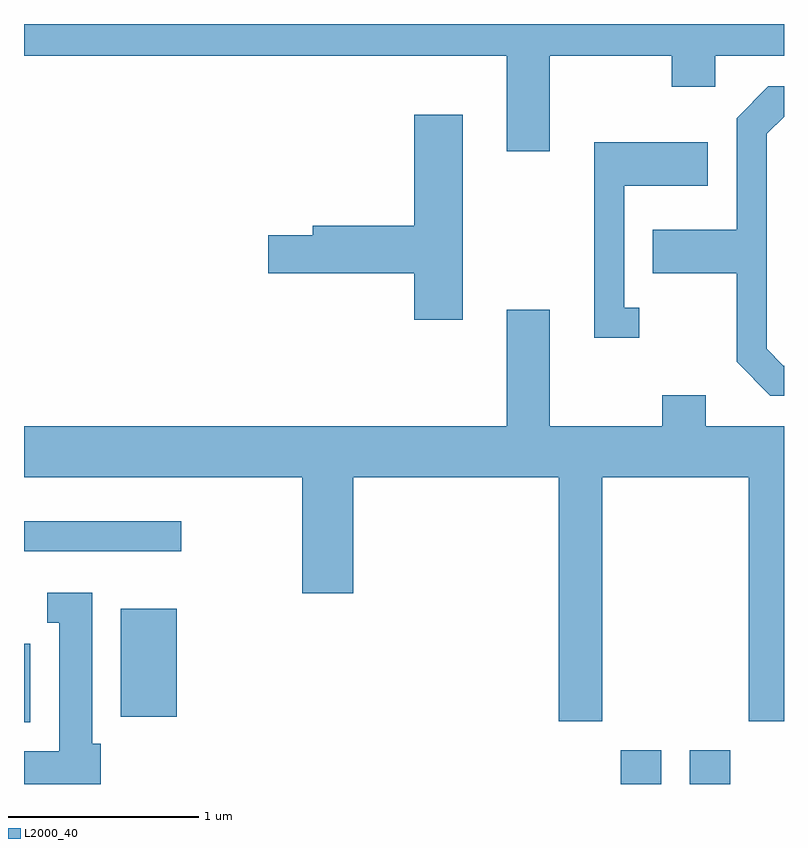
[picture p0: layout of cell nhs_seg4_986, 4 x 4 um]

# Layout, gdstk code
import gdstk
lib = gdstk.Library(unit=1e-6, precision=1e-09)
def R(c, l, rs):  # rectangles x0, y0, x1, y1
    for r in rs: c.add(gdstk.rectangle(r[:2], r[2:], *l))
def P(c, l, *ps):  # polygons
    for p in ps: c.add(gdstk.Polygon(p, *l))
L2000_40 = (2000, 40)

nhs_seg4_986 = lib.new_cell('nhs_seg4_986')
R(nhs_seg4_986, L2000_40, [(216.751,1321.982,216.964,1322.159), (217.116,1321.982,217.329,1322.159), (213.611,1322.306,213.644,1322.719), (214.121,1322.336,214.414,1322.904), (213.611,1323.206,214.438,1323.364)])
P(nhs_seg4_986, L2000_40, [(216.379,1325.816),(217.021,1325.816),(217.021,1325.651),(217.249,1325.651),(217.249,1325.816),(217.611,1325.816),(217.611,1325.982),(213.611,1325.982),(213.611,1325.816),(216.151,1325.816),(216.151,1325.311),(216.379,1325.311)],
  [(217.611,1324.184),(217.607,1324.184),(217.519,1324.272),(217.519,1325.404),(217.611,1325.495),(217.611,1325.654),(217.529,1325.654),(217.361,1325.487),(217.361,1324.899),(216.921,1324.899),(216.921,1324.671),(217.361,1324.671),(217.361,1324.204),(217.539,1324.026),(217.611,1324.026)],
  [(215.919,1325.504),(215.666,1325.504),(215.666,1324.919),(215.131,1324.919),(215.131,1324.869),(214.896,1324.869),(214.896,1324.671),(215.666,1324.671),(215.666,1324.426),(215.919,1324.426)],
  [(216.848,1324.489),(216.769,1324.489),(216.769,1325.131),(217.209,1325.131),(217.209,1325.359),(216.611,1325.359),(216.611,1324.331),(216.848,1324.331)],
  [(216.654,1323.596),(217.426,1323.596),(217.426,1322.311),(217.611,1322.311),(217.611,1323.864),(217.199,1323.864),(217.199,1324.029),(216.971,1324.029),(216.971,1323.864),(216.379,1323.864),(216.379,1324.479),(216.151,1324.479),(216.151,1323.864),(213.611,1323.864),(213.611,1323.596),(215.076,1323.596),(215.076,1322.986),(215.344,1322.986),(215.344,1323.596),(216.426,1323.596),(216.426,1322.311),(216.654,1322.311)],
  [(214.014,1322.194),(213.969,1322.194),(213.969,1322.989),(213.733,1322.989),(213.733,1322.831),(213.796,1322.831),(213.796,1322.154),(213.611,1322.154),(213.611,1321.982),(214.014,1321.982)])

lib.write_gds('nhs_seg4_986.gds')
